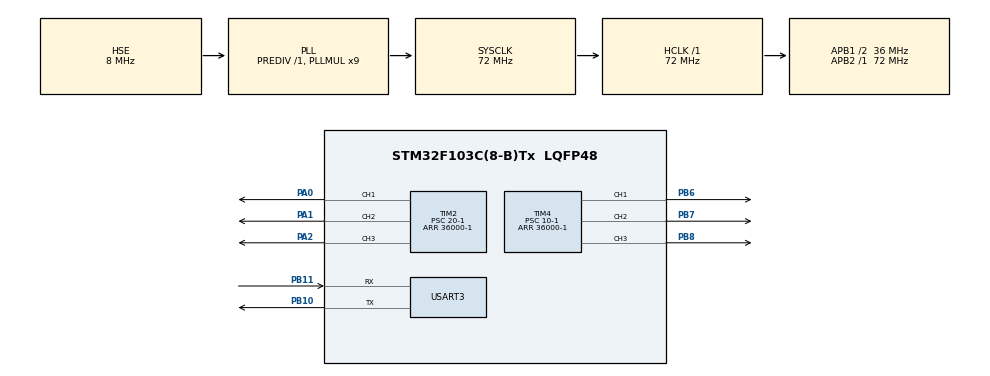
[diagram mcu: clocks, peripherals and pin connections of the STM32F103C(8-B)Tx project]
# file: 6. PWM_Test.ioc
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Mcu.Family=STM32F1
Mcu.Name=STM32F103C(8-B)Tx
Mcu.Package=LQFP48
NVIC.PriorityGroup=NVIC_PRIORITYGROUP_4
PA0-WKUP.Signal=S_TIM2_CH1_ETR
PA1.Signal=S_TIM2_CH2
PA13.Mode=Serial_Wire
PA13.Signal=SYS_JTMS-SWDIO
PA14.Mode=Serial_Wire
PA14.Signal=SYS_JTCK-SWCLK
PA2.Signal=S_TIM2_CH3
PB10.Mode=Asynchronous
PB10.Signal=USART3_TX
PB11.Mode=Asynchronous
PB11.Signal=USART3_RX
PB6.Signal=S_TIM4_CH1
PB7.Signal=S_TIM4_CH2
PB8.Signal=S_TIM4_CH3
PD0-OSC_IN.Mode=HSE-External-Oscillator
PD0-OSC_IN.Signal=RCC_OSC_IN
PD1-OSC_OUT.Mode=HSE-External-Oscillator
PD1-OSC_OUT.Signal=RCC_OSC_OUT
ProjectManager.HeapSize=0x200
ProjectManager.StackSize=0x400
ProjectManager.TargetToolchain=STM32CubeIDE
RCC.AHBFreq_Value=72000000
RCC.APB1CLKDivider=RCC_HCLK_DIV2
RCC.APB1Freq_Value=36000000
RCC.APB1TimFreq_Value=72000000
RCC.APB2Freq_Value=72000000
RCC.APB2TimFreq_Value=72000000
RCC.HCLKFreq_Value=72000000
RCC.PLLMUL=RCC_PLL_MUL9
RCC.PLLSourceVirtual=RCC_PLLSOURCE_HSE
RCC.SYSCLKFreq_VALUE=72000000
RCC.SYSCLKSource=RCC_SYSCLKSOURCE_PLLCLK
RCC.USBFreq_Value=72000000
SH.S_TIM2_CH1_ETR.0=TIM2_CH1,PWM Generation1 CH1
SH.S_TIM2_CH2.0=TIM2_CH2,PWM Generation2 CH2
SH.S_TIM2_CH3.0=TIM2_CH3,PWM Generation3 CH3
SH.S_TIM4_CH1.0=TIM4_CH1,PWM Generation1 CH1
SH.S_TIM4_CH2.0=TIM4_CH2,PWM Generation2 CH2
SH.S_TIM4_CH3.0=TIM4_CH3,PWM Generation3 CH3
TIM2.Channel-PWM\ Generation1\ CH1=TIM_CHANNEL_1
TIM2.Channel-PWM\ Generation2\ CH2=TIM_CHANNEL_2
TIM2.Channel-PWM\ Generation3\ CH3=TIM_CHANNEL_3
TIM2.Period=36000-1
TIM2.Prescaler=20-1
TIM2.Pulse-PWM\ Generation1\ CH1=18000-1
TIM2.Pulse-PWM\ Generation2\ CH2=9000-1
TIM2.Pulse-PWM\ Generation3\ CH3=4500-1
TIM4.Channel-PWM\ Generation1\ CH1=TIM_CHANNEL_1
TIM4.Channel-PWM\ Generation2\ CH2=TIM_CHANNEL_2
TIM4.Channel-PWM\ Generation3\ CH3=TIM_CHANNEL_3
TIM4.Period=36000-1
TIM4.Prescaler=10-1
TIM4.Pulse-PWM\ Generation1\ CH1=18000-1
TIM4.Pulse-PWM\ Generation2\ CH2=9000-1
TIM4.Pulse-PWM\ Generation3\ CH3=4500-1
USART3.VirtualMode=VM_ASYNC
VP_TIM2_VS_ClockSourceINT.Mode=Internal
VP_TIM4_VS_ClockSourceINT.Mode=Internal
board=custom

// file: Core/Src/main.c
/* USER CODE BEGIN Header */
/**
  ******************************************************************************
  * @file           : main.c
  * @brief          : Main program body
  ******************************************************************************
  * @attention
  *
  * Copyright (c) 2022 STMicroelectronics.
  * All rights reserved.
  *
  * This software is licensed under terms that can be found in the LICENSE file
  * in the root directory of this software component.
  * If no LICENSE file comes with this software, it is provided AS-IS.
  *
  ******************************************************************************
  */
/* USER CODE END Header */
#include "main.h"
#include "tim.h"
#include "usart.h"
#include "gpio.h"

void SystemClock_Config(void);

int main(void)
{

  /* MCU Configuration--------------------------------------------------------*/

  /* Reset of all peripherals, Initializes the Flash interface and the Systick. */
  HAL_Init();

  /* Configure the system clock */
  SystemClock_Config();

  /* Initialize all configured peripherals */
  MX_GPIO_Init();
  MX_TIM2_Init();
  MX_TIM4_Init();
  MX_USART3_UART_Init();
  /* USER CODE BEGIN 2 */
	HAL_TIM_PWM_Start(&htim2, TIM_CHANNEL_1);
	HAL_TIM_PWM_Start(&htim2, TIM_CHANNEL_2);
	HAL_TIM_PWM_Start(&htim2, TIM_CHANNEL_3);

	HAL_TIM_PWM_Start(&htim4, TIM_CHANNEL_1);
	HAL_TIM_PWM_Start(&htim4, TIM_CHANNEL_2);
	HAL_TIM_PWM_Start(&htim4, TIM_CHANNEL_3);
  /* USER CODE END 2 */

  /* Infinite loop */
  /* USER CODE BEGIN WHILE */
	uint16_t ccr = 0;
  while (1)
  {
//	  __HAL_TIM_SET_COMPARE(&htim2, TIM_CHANNEL_1, ccr);
	  TIM2->CCR1 = ccr;
	  TIM2->CCR2 = ccr;
	  TIM2->CCR3 = ccr;
	  TIM4->CCR1 = ccr;
	  TIM4->CCR2 = ccr;
	  TIM4->CCR3 = ccr;
	  ccr += 1000;
	  if(ccr > TIM2->ARR) ccr = 0;
	  HAL_Delay(50);
    /* USER CODE END WHILE */

  }
}

void SystemClock_Config(void)
{
  RCC_OscInitTypeDef RCC_OscInitStruct = {0};
  RCC_ClkInitTypeDef RCC_ClkInitStruct = {0};

  /** Initializes the RCC Oscillators according to the specified parameters
  * in the RCC_OscInitTypeDef structure.
  */
  RCC_OscInitStruct.OscillatorType = RCC_OSCILLATORTYPE_HSE;
  RCC_OscInitStruct.HSEState = RCC_HSE_ON;
  RCC_OscInitStruct.HSEPredivValue = RCC_HSE_PREDIV_DIV1;
  RCC_OscInitStruct.HSIState = RCC_HSI_ON;
  RCC_OscInitStruct.PLL.PLLState = RCC_PLL_ON;
  RCC_OscInitStruct.PLL.PLLSource = RCC_PLLSOURCE_HSE;
  RCC_OscInitStruct.PLL.PLLMUL = RCC_PLL_MUL9;
  if (HAL_RCC_OscConfig(&RCC_OscInitStruct) != HAL_OK)
  {
    Error_Handler();
  }

  /** Initializes the CPU, AHB and APB buses clocks
  */
  RCC_ClkInitStruct.ClockType = RCC_CLOCKTYPE_HCLK|RCC_CLOCKTYPE_SYSCLK
                              |RCC_CLOCKTYPE_PCLK1|RCC_CLOCKTYPE_PCLK2;
  RCC_ClkInitStruct.SYSCLKSource = RCC_SYSCLKSOURCE_PLLCLK;
  RCC_ClkInitStruct.AHBCLKDivider = RCC_SYSCLK_DIV1;
  RCC_ClkInitStruct.APB1CLKDivider = RCC_HCLK_DIV2;
  RCC_ClkInitStruct.APB2CLKDivider = RCC_HCLK_DIV1;

  if (HAL_RCC_ClockConfig(&RCC_ClkInitStruct, FLASH_LATENCY_2) != HAL_OK)
  {
    Error_Handler();
  }
}

void Error_Handler(void)
{
  __disable_irq();
  while (1)
  {
  }
}
